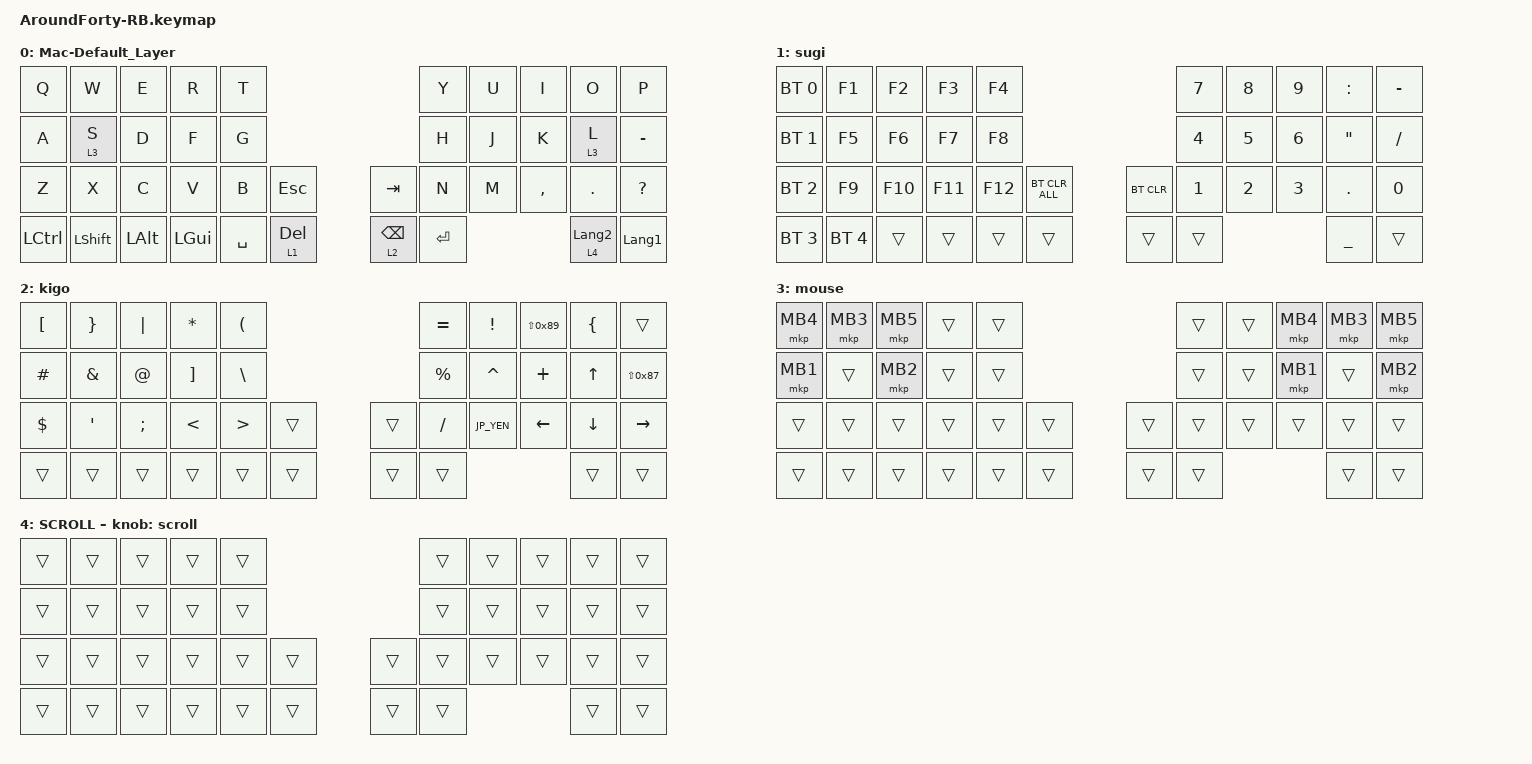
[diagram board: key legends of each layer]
#include <behaviors/rgbled_widget.dtsi>  // needed to use the behaviors
#include <behaviors.dtsi>
#include <dt-bindings/zmk/bt.h>
#include <dt-bindings/zmk/keys.h>
#include <dt-bindings/zmk/pointing.h>

#define ZMK_POINTING_DEFAULT_SCRL_VAL 100
#define MOUSE 3

// OS設定を日本語キーボードのまま使用するための変換定義

#define JP_DQUOTE       AT                // "
#define JP_AMPERSAND    CARET             // &
#define JP_QUOTE        AMPERSAND         // '
#define JP_EQUAL        UNDER             // =
#define JP_CARET        EQUAL             // ^
#define JP_YEN          0x89              // ¥
#define JP_PLUS         COLON             // +
#define JP_TILDE        PLUS              // ~
#define JP_PIPE         LS(0x89)          // |
#define JP_AT           LEFT_BRACKET      // @
#define JP_COLON        SINGLE_QUOTE      // :
#define JP_ASTERISK     DOUBLE_QUOTES     // *
#define JP_BACKQUOTE    LEFT_BRACE        // `
#define JP_UNDERSCORE   LS(0x87)          // _
#define JP_LBRACKET     RIGHT_BRACKET     // [
#define JP_RBRACKET     BACKSLASH         // ]
#define JP_LPAREN       ASTERISK          // (
#define JP_RPAREN       LEFT_PARENTHESIS  // )
#define JP_LBRACE       RIGHT_BRACE       // {
#define JP_RBRACE       PIPE              // }
#define JP_KANA         LANGUAGE_1        // かな
#define JP_EISU         LANGUAGE_2        // 英数
#define JP_HANZEN       GRAVE             // 半角/全角

// Mouse Scroll Value

#define ZMK_POINTING_DEFAULT_SCRL_VAL 100
#define SCROLL 4

&mt {
    flavor = "balanced";
    quick-tap-ms = <0>;
};

/ {
    combos { compatible = "zmk,combos"; };

    macros {
        to_layer_0: to_layer_0 {
            compatible = "zmk,behavior-macro-one-param";
            #binding-cells = <1>;
            bindings = <&to 0 &macro_param_1to1 &kp MACRO_PLACEHOLDER>;
            label = "TO_LAYER_0";
        };
    };

    behaviors {
        lt_to_layer_0: lt_to_layer_0 {
            compatible = "zmk,behavior-hold-tap";
            label = "LAYER_TAP_TO_0";
            bindings = <&mo>, <&to_layer_0>;

            #binding-cells = <2>;
            tapping-term-ms = <200>;
        };

        scroll_up_down: behavior_sensor_rotate_mouse_wheel_up_down {
            compatible = "zmk,behavior-sensor-rotate";
            #sensor-binding-cells = <0>;
            bindings = <&msc SCRL_UP>, <&msc SCRL_DOWN>;

            tap-ms = <20>;
        };

        scroll: mouse_wheel {
            compatible = "zmk,behavior-sensor-rotate";
            #sensor-binding-cells = <0>;
            bindings = <&msc SCRL_LEFT>, <&msc SCRL_RIGHT>;

            tap-ms = <90>;
            label = "lr";
        };
    };

    keymap {
        compatible = "zmk,keymap";

        Mac-Default_Layer {
            bindings = <
&kp Q      &kp W           &kp E         &kp R         &kp T                    &kp Y      &kp U    &kp I            &kp O             &kp P
&kp A      &lt 3 S         &kp D         &kp F         &kp G                    &kp H      &kp J    &kp K            &lt 3 L           &kp MINUS
&kp Z      &kp X           &kp C         &kp V         &kp B      &kp ESCAPE    &kp N      &kp M    &kp COMMA        &kp PERIOD        &kp QUESTION
&kp LCTRL  &kp LEFT_SHIFT  &kp LEFT_ALT  &kp LEFT_GUI  &kp SPACE  &lt 1 DELETE  &kp ENTER  &kp TAB  &lt 2 BACKSPACE  &lt 4 LANGUAGE_2  &kp LANGUAGE_1
            >;
        };

        sugi {
            bindings = <
&bt BT_SEL 0  &kp F1        &kp F2   &kp F3   &kp F4                   &kp N7        &kp N8        &kp N9        &kp JP_PLUS      &kp MINUS
&bt BT_SEL 1  &kp F5        &kp F6   &kp F7   &kp F8                   &kp N4        &kp N5        &kp N6        &kp JP_ASTERISK  &kp SLASH
&bt BT_SEL 2  &kp F9        &kp F10  &kp F11  &kp F12  &bt BT_CLR_ALL  &kp N1        &kp N2        &kp N3        &kp PERIOD    &kp N0
&bt BT_SEL 3  &bt BT_SEL 4  &trans   &trans   &trans   &trans          &trans        &bt BT_CLR    &trans        &kp JP_EQUAL     &trans
            >;
        };

        kigo {
            bindings = <
&kp JP_AT  &kp JP_LBRACE  &kp JP_RBRACE    &kp JP_LPAREN  &kp JP_RPAREN          &kp JP_CARET    &kp EXCLAMATION       &kp JP_PIPE   &kp JP_BACKQUOTE       &trans
&kp HASH     &kp JP_QUOTE         &kp JP_DQUOTE  &kp JP_LBRACKET      &kp JP_RBRACKET              &kp PERCENT  &kp JP_AMPERSAND         &kp JP_TILDE  &kp UP_ARROW    &kp JP_UNDERSCORE
&kp DOLLAR   &kp JP_COLON       &kp SEMICOLON      &kp LESS_THAN         &kp GREATER_THAN       &trans  &kp SLASH    &kp JP_YEN  &kp LEFT_ARROW   &kp DOWN_ARROW  &kp RIGHT_ARROW
&trans       &trans          &trans             &trans                &trans                 &trans  &trans       &trans                &trans     &trans          &trans
            >;
        };

        mouse {
            bindings = <
&mkp MB4  &mkp MB3  &mkp MB5  &trans  &trans          &trans  &trans  &mkp MB4  &mkp MB3  &mkp MB5
&mkp MB1  &trans    &mkp MB2  &trans  &trans          &trans  &trans  &mkp MB1  &trans    &mkp MB2
&trans    &trans    &trans    &trans  &trans  &trans  &trans  &trans  &trans    &trans    &trans
&trans    &trans    &trans    &trans  &trans  &trans  &trans  &trans  &trans    &trans    &trans
            >;
        };

        SCROLL {
            bindings = <
&trans  &trans  &trans  &trans  &trans          &trans  &trans  &trans  &trans  &trans
&trans  &trans  &trans  &trans  &trans          &trans  &trans  &trans  &trans  &trans
&trans  &trans  &trans  &trans  &trans  &trans  &trans  &trans  &trans  &trans  &trans
&trans  &trans  &trans  &trans  &trans  &trans  &trans  &trans  &trans  &trans  &trans
            >;

            sensor-bindings = <&scroll>;
        };
    };
};
